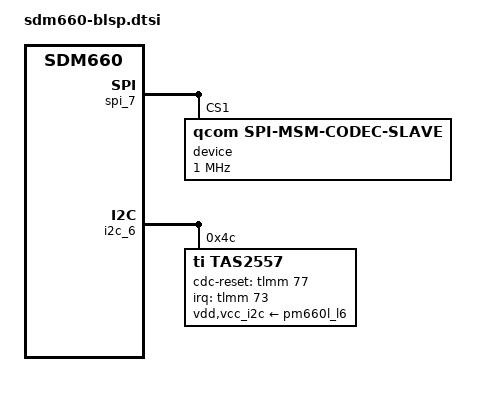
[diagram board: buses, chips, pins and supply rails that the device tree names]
#include "sdm660-pinctrl.dtsi"

&spi_7 {
	status = "okay";

	device@1 {
		compatible = "qcom,spi-msm-codec-slave";
		#address-cells = <1>;
		#size-cells = <1>;
		reg = <1>;
		spi-max-frequency = <1000000>;
		spi-cpol;
	};
};

&i2c_6 {
	status = "okay";

	tas2557@4c {
		compatible = "ti,tas2557";
		reg = <0x4c>;
		i2c-pull-up;
		vdd-supply = <&pm660l_l6>;
		vcc_i2c-supply = <&pm660l_l6>;
		ti,bypass-tmax = <0>;
		ti,cdc-reset-gpio = <&tlmm 77 0>;
		ti,irq-gpio = <&tlmm 73 0>;
		ti,i2s-bits = <16>;
		status = "ok";
	};
};
